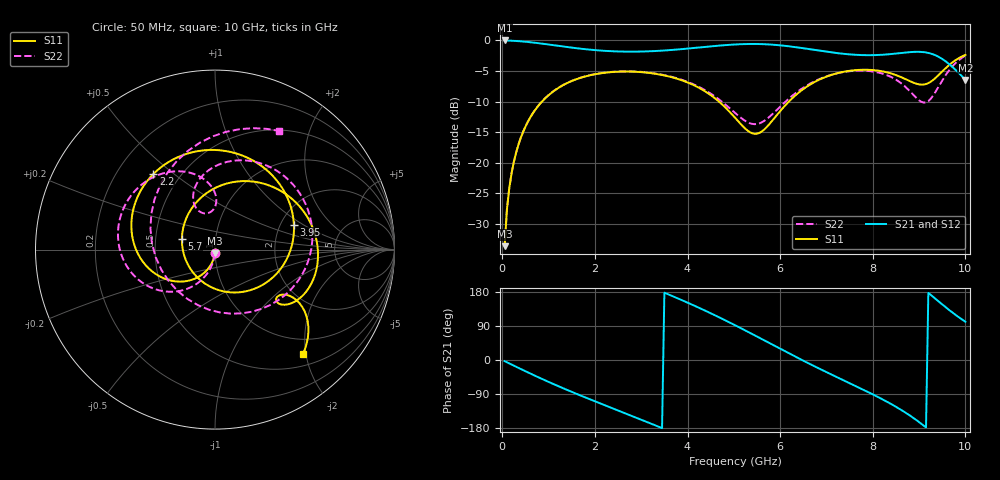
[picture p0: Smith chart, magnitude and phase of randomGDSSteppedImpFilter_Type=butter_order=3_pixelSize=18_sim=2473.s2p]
! freq	dB(S11)	phase(S11)	dB(S12)	phase(S12)
!  dB(S21)	phase(S21)	dB(S22)	phase(S22)
!S-par simulation data
#  GHz  S  DB  R 50
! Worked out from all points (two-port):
!   200 points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, 50 MHz to 10 GHz, reference 50 ohm
!   highest |S21| = -0.01 dB at 50 MHz (marker M1); lowest = -6.4 dB at 10 GHz (marker M2)
!   |S21| within 3 dB of the highest: start of sweep to 9.495 GHz
!   lowest |S11| = -33.6 dB at 50 MHz (marker M3), VSWR 1.04, Z = 49.8 - j2.08 ohm
!   |S11| at or under -10 dB: start of sweep to 856.1 MHz; 4.68 GHz to 6.187 GHz (1.507 GHz wide, 27.7 % of centre)
!   |S22| runs from -33.6 to -2.5 dB; largest |S21 - S12| = 0
!   S11 on the Smith chart (normalised r, x): 50 MHz: 1.00, -0.04; 2.2 GHz: 0.36, +0.42; 3.95 GHz: 2.36, +0.84; 5.7 GHz: 0.68, +0.09; 10 GHz: 0.70, -1.94
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0.05  -33.61 -93.4  -0.01 -3.0  -0.01 -3.0  -33.61 -92.4
0.1  -27.64 -97.0  -0.02 -6.1  -0.02 -6.1  -27.63 -95.2
0.2  -21.72 -104.3  -0.05 -12.0  -0.05 -12.0  -21.70 -100.6
0.5  -14.09 -124.8  -0.22 -29.7  -0.22 -29.7  -14.07 -115.7
1.1  -8.34 -163.9  -0.77 -63.2  -0.77 -63.2  -8.32 -143.7
1.75  -5.97 156.1  -1.40 -96.7  -1.40 -96.7  -5.95 -170.6
2.2  -5.30 129.2  -1.70 -118.7  -1.70 -118.7  -5.27 172.4
2.8  -5.10 93.1  -1.84 -147.6  -1.84 -147.6  -5.06 150.9
3.4  -5.57 55.3  -1.70 -177.3  -1.70 -177.3  -5.52 130.1
3.95  -6.72 17.6  -1.37 154.1  -1.37 154.1  -6.62 111.4
4.6  -9.50 -34.6  -0.90 117.5  -0.90 117.5  -9.20 92.7
5.05  -12.83 -83.9  -0.65 90.3  -0.65 90.3  -12.00 89.0
5.7  -14.24 161.9  -0.63 49.0  -0.63 49.0  -12.91 111.6
6.2  -9.90 97.8  -0.97 16.9  -0.97 16.9  -9.43 110.8
6.7  -6.98 56.4  -1.51 -14.1  -1.51 -14.1  -6.84 92.0
7.5  -4.96 7.7  -2.28 -61.2  -2.28 -61.2  -5.03 49.1
7.95  -4.81 -14.1  -2.41 -87.7  -2.41 -87.7  -5.03 19.7
8.35  -5.30 -30.1  -2.26 -113.0  -2.26 -113.0  -5.82 -12.7
8.9  -6.97 -40.1  -1.87 -154.9  -1.87 -154.9  -9.08 -85.3
9.35  -6.16 -31.7  -2.42 161.9  -2.42 161.9  -8.45 162.1
9.7  -3.71 -37.7  -4.20 127.2  -4.20 127.2  -4.41 98.0
10  -2.37 -49.9  -6.45 101.1  -6.45 101.1  -2.48 61.5
